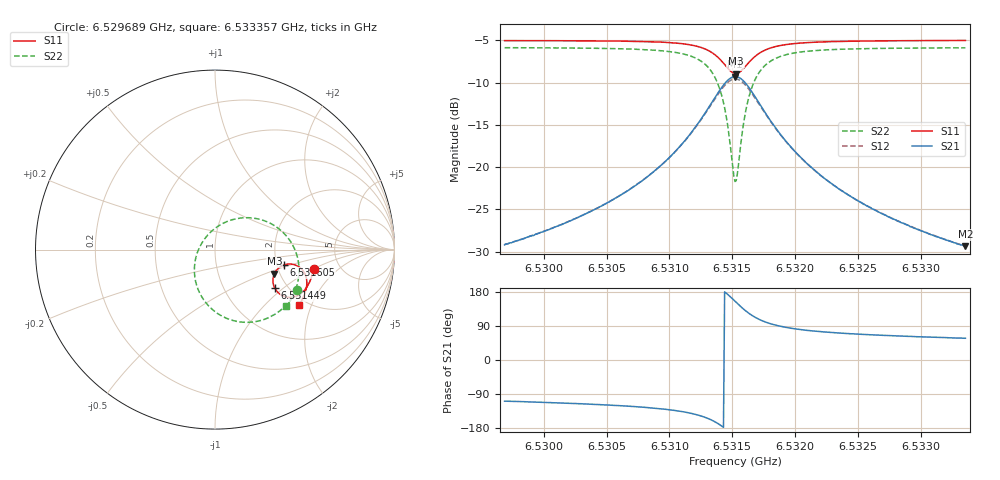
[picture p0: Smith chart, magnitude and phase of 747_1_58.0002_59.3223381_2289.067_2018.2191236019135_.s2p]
#  HZ  S  RI  R  50.00
! Rohde & Schwarz Vector Network Analyzer
! Rohde-Schwarz,ZNB20-2Port,1311601062101988,3.16
! Created: UTC 3/21/2024, 1:23:49 AM
! freq[Hz]  re:S11  im:S11  re:S21  im:S21  re:S12  im:S12  re:S22  im:S22
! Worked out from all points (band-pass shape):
!   401 points, 6.529689 GHz to 6.533357 GHz, reference 50 ohm
!   highest |S21| = -9.29 dB at 6.531523 GHz (marker M1); lowest = -29.4 dB at 6.533357 GHz (marker M2)
!   |S21| within 3 dB of the highest: 6.531341 GHz to 6.531708 GHz (366.9 kHz wide, 0.00562 % of centre)
!   lowest |S11| = -8.9 dB at 6.531532 GHz (marker M3), VSWR 2.11, Z = 93.8 - j28.8 ohm
!   |S11| at or under -10 dB: nowhere
!   |S22| runs from -21.7 to -5.9 dB; largest |S21 - S12| = 0.014
!   S11 on the Smith chart (normalised r, x): 6.529689 GHz: 3.21, -0.99; 6.531449 GHz: 1.72, -0.88; 6.531605 GHz: 2.19, -0.44; 6.533357 GHz: 1.81, -1.64
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6.5296888e9  0.55 -0.1053  -0.011 -0.0328  -0.0118 -0.0327  0.4565 -0.2243
6.5303031e9  0.5361 -0.1576  -0.0222 -0.0465  -0.0236 -0.046  0.4197 -0.2822
6.5306608e9  0.5217 -0.1921  -0.0375 -0.0611  -0.0393 -0.0602  0.3796 -0.3256
6.5309175e9  0.5031 -0.2211  -0.0618 -0.0784  -0.0642 -0.0765  0.3259 -0.3652
6.5311376e9  0.4705 -0.2506  -0.1102 -0.0982  -0.1131 -0.094  0.2295 -0.4005
6.5312935e9  0.4195 -0.2658  -0.1894 -0.0988  -0.191 -0.0905  0.0863 -0.3909
6.5313852e9  0.369 -0.253  -0.2666 -0.0599  -0.2636 -0.0485  -0.0392 -0.3098
6.5314219e9  0.3472 -0.2353  -0.2984 -0.0233  -0.2922 -0.012  -0.0852 -0.2423
6.5314494e9  0.3334 -0.2154  -0.317 0.0146  -0.3079 0.025  -0.1085 -0.1755
6.5315044e9  0.3235 -0.1622  -0.3227 0.111  -0.3094 0.1157  -0.0986 -0.017
6.5315227e9  0.3277 -0.1431  -0.3116 0.1439  -0.2982 0.1464  -0.0745 0.0346
6.5315319e9  0.3312 -0.134  -0.3038 0.1595  -0.2905 0.1606  -0.0588 0.0584
6.5315502e9  0.3413 -0.1173  -0.2836 0.1875  -0.2712 0.1869  -0.021 0.1008
6.5316053e9  0.3847 -0.0856  -0.2036 0.2399  -0.1957 0.2353  0.119 0.1721
6.5316328e9  0.4079 -0.0805  -0.1629 0.2474  -0.1569 0.2426  0.188 0.1776
6.5316695e9  0.4353 -0.0825  -0.1153 0.2442  -0.1115 0.2398  0.2668 0.1636
6.5317612e9  0.4802 -0.1065  -0.0391 0.2072  -0.0375 0.2048  0.3898 0.085
6.5318987e9  0.5057 -0.1465  0.0053 0.1512  0.00653 0.1503  0.4546 -0.026
6.5321371e9  0.5117 -0.194  0.0224 0.0958  0.0237 0.0955  0.4675 -0.1386
6.5324122e9  0.5051 -0.2297  0.0239 0.0651  0.0249 0.0647  0.4542 -0.207
6.5327515e9  0.493 -0.2629  0.0219 0.0455  0.0227 0.0452  0.4337 -0.2579
6.5333567e9  0.4683 -0.3097  0.0183 0.0287  0.0191 0.0282  0.3981 -0.3153
